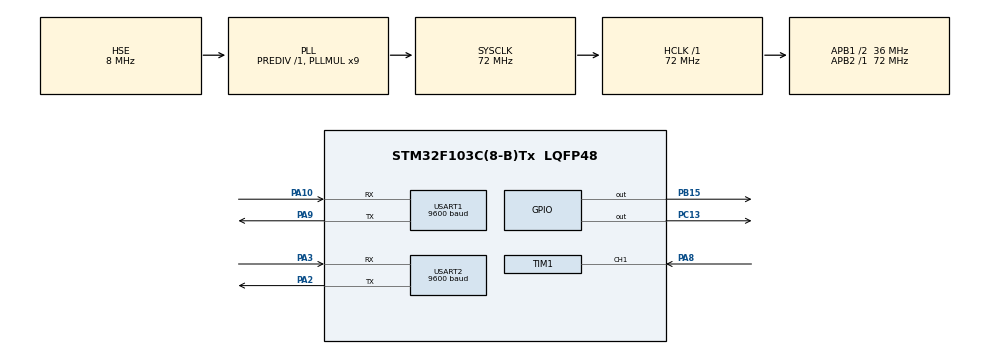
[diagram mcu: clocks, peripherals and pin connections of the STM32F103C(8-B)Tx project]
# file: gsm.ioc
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Mcu.Family=STM32F1
Dma.USART2_RX.2.PeriphDataAlignment=DMA_PDATAALIGN_BYTE
NVIC.DMA1_Channel5_IRQn=true\:0\:0\:false\:false\:true\:true\:false\:true
Dma.USART1_TX.1.MemInc=DMA_MINC_ENABLE
Dma.USART2_TX.3.MemInc=DMA_MINC_ENABLE
PA10.GPIO_PuPd=GPIO_NOPULL
USART1.BaudRate=9600
Dma.USART2_TX.3.Direction=DMA_MEMORY_TO_PERIPH
PB15.Signal=GPIO_Output
RCC.SYSCLKSource=RCC_SYSCLKSOURCE_PLLCLK
ProjectManager.StackSize=0x400
PD1-OSC_OUT.Signal=RCC_OSC_OUT
TIM1.Prescaler=71
RCC.HCLKFreq_Value=72000000
RCC.APB2TimFreq_Value=72000000
TIM3.Period=0xFFFF
Dma.USART2_RX.2.Priority=DMA_PRIORITY_LOW
Dma.USART2_RX.2.MemDataAlignment=DMA_MDATAALIGN_BYTE
RCC.AHBFreq_Value=72000000
Dma.USART1_RX.0.Priority=DMA_PRIORITY_LOW
RCC.PLLMUL=RCC_PLL_MUL9
PA14.Mode=Serial_Wire
TIM3.Prescaler=71
PA8.Signal=S_TIM1_CH1
PC13-TAMPER-RTC.GPIO_Speed=GPIO_SPEED_FREQ_HIGH
VP_FREERTOS_VS_CMSIS_V1.Mode=CMSIS_V1
Dma.USART1_RX.0.MemInc=DMA_MINC_ENABLE
Dma.USART1_TX.1.PeriphDataAlignment=DMA_PDATAALIGN_BYTE
Mcu.Package=LQFP48
NVIC.TimeBase=TIM4_IRQn
USART2.VirtualMode=VM_ASYNC
NVIC.TimeBaseIP=TIM4
PA10.Signal=USART1_RX
Dma.USART2_RX.2.Direction=DMA_PERIPH_TO_MEMORY
Dma.Request2=USART2_RX
Dma.Request1=USART1_TX
RCC.APB1TimFreq_Value=72000000
Dma.Request3=USART2_TX
Dma.USART1_RX.0.Mode=DMA_NORMAL
Dma.USART1_TX.1.Priority=DMA_PRIORITY_LOW
TIM1.Period=0xFFFF
NVIC.DMA1_Channel4_IRQn=true\:0\:0\:false\:false\:true\:true\:false\:true
NVIC.USART1_IRQn=true\:0\:0\:false\:false\:true\:true\:true\:true
Dma.Request0=USART1_RX
Dma.USART1_RX.0.Instance=DMA1_Channel5
VP_TIM3_VS_ClockSourceINT.Mode=Internal
PA3.Signal=USART2_RX
Dma.USART1_TX.1.Direction=DMA_MEMORY_TO_PERIPH
RCC.PLLSourceVirtual=RCC_PLLSOURCE_HSE
Dma.USART2_TX.3.MemDataAlignment=DMA_MDATAALIGN_BYTE
NVIC.DMA1_Channel6_IRQn=true\:0\:0\:false\:false\:true\:true\:false\:true
Dma.USART1_TX.1.Instance=DMA1_Channel4
FREERTOS.Tasks01=MainTask,0,128,StartMainTask,Default,NULL,Dynamic,NULL,NULL
PD1-OSC_OUT.Mode=HSE-External-Oscillator
Dma.USART1_RX.0.PeriphDataAlignment=DMA_PDATAALIGN_BYTE
PA10.Mode=Asynchronous
Dma.USART2_TX.3.Instance=DMA1_Channel7
PC13-TAMPER-RTC.Signal=GPIO_Output
Dma.USART2_TX.3.PeriphInc=DMA_PINC_DISABLE
PD0-OSC_IN.Signal=RCC_OSC_IN
RCC.APB1CLKDivider=RCC_HCLK_DIV2
PC14-OSC32_IN.Signal=RCC_OSC32_IN
NVIC.USART2_IRQn=true\:0\:0\:false\:false\:true\:true\:true\:true
USART2.BaudRate=9600
Dma.USART2_RX.2.Mode=DMA_NORMAL
PA3.Mode=Asynchronous
PA13.Signal=SYS_JTMS-SWDIO
PA9.Mode=Asynchronous
SH.S_TIM1_CH1.0=TIM1_CH1,Input_Capture1_from_TI1
Dma.USART2_RX.2.MemInc=DMA_MINC_ENABLE
ProjectManager.TargetToolchain=MDK-ARM V5.27
Dma.USART1_RX.0.Direction=DMA_PERIPH_TO_MEMORY
PA9.Signal=USART1_TX
Dma.USART2_TX.3.PeriphDataAlignment=DMA_PDATAALIGN_BYTE
RCC.USBFreq_Value=72000000
PC15-OSC32_OUT.Signal=RCC_OSC32_OUT
Dma.USART1_RX.0.PeriphInc=DMA_PINC_DISABLE
PD0-OSC_IN.Mode=HSE-External-Oscillator
Dma.USART1_TX.1.MemDataAlignment=DMA_MDATAALIGN_BYTE
board=custom
Dma.USART2_RX.2.PeriphInc=DMA_PINC_DISABLE
RCC.APB2Freq_Value=72000000
PB15.GPIO_Speed=GPIO_SPEED_FREQ_HIGH
Dma.USART2_TX.3.Mode=DMA_NORMAL
Dma.USART1_RX.0.MemDataAlignment=DMA_MDATAALIGN_BYTE
PA13.Mode=Serial_Wire
Mcu.Name=STM32F103C(8-B)Tx
PA2.Signal=USART2_TX
NVIC.TIM1_CC_IRQn=true\:0\:0\:false\:false\:true\:true\:true\:true
RCC.SYSCLKFreq_VALUE=72000000
Dma.USART2_RX.2.Instance=DMA1_Channel6
TIM1.Channel-Input_Capture1_from_TI1=TIM_CHANNEL_1
Dma.USART1_TX.1.Mode=DMA_NORMAL
USART1.VirtualMode=VM_ASYNC
PA14.Signal=SYS_JTCK-SWCLK
ProjectManager.HeapSize=0x200
Dma.USART1_TX.1.PeriphInc=DMA_PINC_DISABLE
VP_SYS_VS_tim4.Mode=TIM4
Dma.USART2_TX.3.Priority=DMA_PRIORITY_LOW
NVIC.PriorityGroup=NVIC_PRIORITYGROUP_4
PA2.Mode=Asynchronous
NVIC.DMA1_Channel7_IRQn=true\:0\:0\:false\:false\:true\:true\:false\:true
NVIC.TIM4_IRQn=true\:0\:0\:false\:false\:true\:false\:false\:true
RCC.APB1Freq_Value=36000000

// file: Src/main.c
/* USER CODE BEGIN Header */
/**
  ******************************************************************************
  * @file           : main.c
  * @brief          : Main program body
  ******************************************************************************
  * @attention
  *
  * <h2><center>&copy; Copyright (c) 2020 STMicroelectronics.
  * All rights reserved.</center></h2>
  *
  * This software component is licensed by ST under BSD 3-Clause license,
  * the "License"; You may not use this file except in compliance with the
  * License. You may obtain a copy of the License at:
  *                        opensource.org/licenses/BSD-3-Clause
  *
  ******************************************************************************
  */
/* USER CODE END Header */
#include "main.h"
#include "cmsis_os.h"
#include "dma.h"
#include "tim.h"
#include "usart.h"
#include "gpio.h"

void SystemClock_Config(void);
void MX_FREERTOS_Init(void);

int main(void)
{

  /* MCU Configuration--------------------------------------------------------*/

  /* Reset of all peripherals, Initializes the Flash interface and the Systick. */
  HAL_Init();

  /* Configure the system clock */
  SystemClock_Config();

  /* Initialize all configured peripherals */
  MX_GPIO_Init();
  MX_DMA_Init();
  MX_USART1_UART_Init();
  MX_TIM3_Init();
  MX_TIM1_Init();
  MX_USART2_UART_Init();

  /* Call init function for freertos objects (in freertos.c) */
  MX_FREERTOS_Init();
  /* Start scheduler */
  osKernelStart();

  /* We should never get here as control is now taken by the scheduler */
  /* Infinite loop */
  while (1)
  {

  }
}

void SystemClock_Config(void)
{
  RCC_OscInitTypeDef RCC_OscInitStruct = {0};
  RCC_ClkInitTypeDef RCC_ClkInitStruct = {0};

  /** Initializes the RCC Oscillators according to the specified parameters
  * in the RCC_OscInitTypeDef structure.
  */
  RCC_OscInitStruct.OscillatorType = RCC_OSCILLATORTYPE_HSE;
  RCC_OscInitStruct.HSEState = RCC_HSE_ON;
  RCC_OscInitStruct.HSEPredivValue = RCC_HSE_PREDIV_DIV1;
  RCC_OscInitStruct.HSIState = RCC_HSI_ON;
  RCC_OscInitStruct.PLL.PLLState = RCC_PLL_ON;
  RCC_OscInitStruct.PLL.PLLSource = RCC_PLLSOURCE_HSE;
  RCC_OscInitStruct.PLL.PLLMUL = RCC_PLL_MUL9;
  if (HAL_RCC_OscConfig(&RCC_OscInitStruct) != HAL_OK)
  {
    Error_Handler();
  }
  /** Initializes the CPU, AHB and APB buses clocks
  */
  RCC_ClkInitStruct.ClockType = RCC_CLOCKTYPE_HCLK|RCC_CLOCKTYPE_SYSCLK
                              |RCC_CLOCKTYPE_PCLK1|RCC_CLOCKTYPE_PCLK2;
  RCC_ClkInitStruct.SYSCLKSource = RCC_SYSCLKSOURCE_PLLCLK;
  RCC_ClkInitStruct.AHBCLKDivider = RCC_SYSCLK_DIV1;
  RCC_ClkInitStruct.APB1CLKDivider = RCC_HCLK_DIV2;
  RCC_ClkInitStruct.APB2CLKDivider = RCC_HCLK_DIV1;

  if (HAL_RCC_ClockConfig(&RCC_ClkInitStruct, FLASH_LATENCY_2) != HAL_OK)
  {
    Error_Handler();
  }
}

void HAL_TIM_PeriodElapsedCallback(TIM_HandleTypeDef *htim)
{
  if (htim->Instance == TIM4) {
    HAL_IncTick();
  }
}

void Error_Handler(void)
{
}

/************************ (C) COPYRIGHT STMicroelectronics *****END OF FILE****/

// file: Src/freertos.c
/* USER CODE BEGIN Header */
/**
  ******************************************************************************
  * File Name          : freertos.c
  * Description        : Code for freertos applications
  ******************************************************************************
  * @attention
  *
  * <h2><center>&copy; Copyright (c) 2020 STMicroelectronics.
  * All rights reserved.</center></h2>
  *
  * This software component is licensed by ST under Ultimate Liberty license
  * SLA0044, the "License"; You may not use this file except in compliance with
  * the License. You may obtain a copy of the License at:
  *                             www.st.com/SLA0044
  *
  ******************************************************************************
  */
/* USER CODE END Header */

#include "FreeRTOS.h"
#include "task.h"
#include "main.h"
#include "cmsis_os.h"

/* USER CODE BEGIN Includes */
#include "Sim80x.h"
#include "tim.h"
/* USER CODE END Includes */

osThreadId MainTaskHandle;

/* USER CODE BEGIN FunctionPrototypes */
uint32_t IC_Val1 = 0;
uint32_t IC_Val2 = 0;
uint32_t Difference = 0;
uint8_t Is_First_Captured = 0;
uint8_t Distance  = 0;
void HAL_TIM_IC_CaptureCallback(TIM_HandleTypeDef *htim)
{
	if (htim->Channel == HAL_TIM_ACTIVE_CHANNEL_1)
	{
		if (Is_First_Captured==0)
		{
			IC_Val1 = htim->Instance->CCR1;
			Is_First_Captured = 1;
			htim->Instance->CCER &= ~(TIM_CCER_CC1P | TIM_CCER_CC1NP);
			htim->Instance->CCER |= TIM_INPUTCHANNELPOLARITY_FALLING;
		}
		else if (Is_First_Captured==1)
		{
			IC_Val2 = htim->Instance->CCR1;
			__HAL_TIM_SET_COUNTER(htim, 0);
			if (IC_Val2 > IC_Val1)
			{
				Difference = IC_Val2-IC_Val1;
			}
			else if (IC_Val1 > IC_Val2)
			{
				Difference = (0xffff - IC_Val1) + IC_Val2;
			}
			Distance = Difference * .034/2;
			Is_First_Captured = 0;
			htim->Instance->CCER &= ~(TIM_CCER_CC1P | TIM_CCER_CC1NP);
			htim->Instance->CCER |= TIM_INPUTCHANNELPOLARITY_RISING;

			__HAL_TIM_DISABLE_IT(&htim1, TIM_IT_CC1);
		}
	}
}
void HCSR04_Read (void)
{
	GPIOB->BSRR = GPIO_PIN_15;
	TIM3->CNT = 0;
	while(TIM3->CNT < 10);
	GPIOB->BSRR = (uint32_t)GPIO_PIN_15 << 16U;

	__HAL_TIM_ENABLE_IT(&htim1, TIM_IT_CC1);
}
/* USER CODE END FunctionPrototypes */

void StartMainTask(void const * argument);

void MX_FREERTOS_Init(void); /* (MISRA C 2004 rule 8.1) */

/* GetIdleTaskMemory prototype (linked to static allocation support) */
void vApplicationGetIdleTaskMemory( StaticTask_t **ppxIdleTaskTCBBuffer, StackType_t **ppxIdleTaskStackBuffer, uint32_t *pulIdleTaskStackSize );

/* USER CODE BEGIN GET_IDLE_TASK_MEMORY */
static StaticTask_t xIdleTaskTCBBuffer;
static StackType_t xIdleStack[configMINIMAL_STACK_SIZE];

void vApplicationGetIdleTaskMemory( StaticTask_t **ppxIdleTaskTCBBuffer, StackType_t **ppxIdleTaskStackBuffer, uint32_t *pulIdleTaskStackSize )
{
  *ppxIdleTaskTCBBuffer = &xIdleTaskTCBBuffer;
  *ppxIdleTaskStackBuffer = &xIdleStack[0];
  *pulIdleTaskStackSize = configMINIMAL_STACK_SIZE;
  /* place for user code */
}
/* USER CODE END GET_IDLE_TASK_MEMORY */

void MX_FREERTOS_Init(void) {
  /* USER CODE BEGIN Init */
	HAL_TIM_Base_Start(&htim3);
	HAL_TIM_IC_Start_IT(&htim1, TIM_CHANNEL_1);
  /* USER CODE END Init */

  /* Create the thread(s) */
  /* definition and creation of MainTask */
  osThreadDef(MainTask, StartMainTask, osPriorityNormal, 0, 128);
  MainTaskHandle = osThreadCreate(osThread(MainTask), NULL);

}

void StartMainTask(void const * argument)
{
  /* USER CODE BEGIN StartMainTask */
	Sim80x_Init(osPriorityLow);
	osDelay(10000);
	Gsm_MsgSendText("+998903316670", "CHILONZOR-10-4-16 STARTED\r\n");
  /* Infinite loop */
  for(;;)
  {
		HAL_GPIO_TogglePin(GPIOC, GPIO_PIN_13);

		HCSR04_Read();

		for(int secund = 0; secund < 1; secund++)
		{
			osDelay(1000);
		}

    if(Distance < 10)
		{
			Gsm_MsgSendText("+998903316670", "CHILONZOR-10-4-16 FULL\r\n");
			// Gsm_Dial("+998903316670", 10);
		}
  }
  /* USER CODE END StartMainTask */
}

/* USER CODE BEGIN Application */
void HAL_UART_RxCpltCallback(UART_HandleTypeDef *huart)
{
  Sim80x_RxCallBack();
}
/* USER CODE END Application */

/************************ (C) COPYRIGHT STMicroelectronics *****END OF FILE****/
